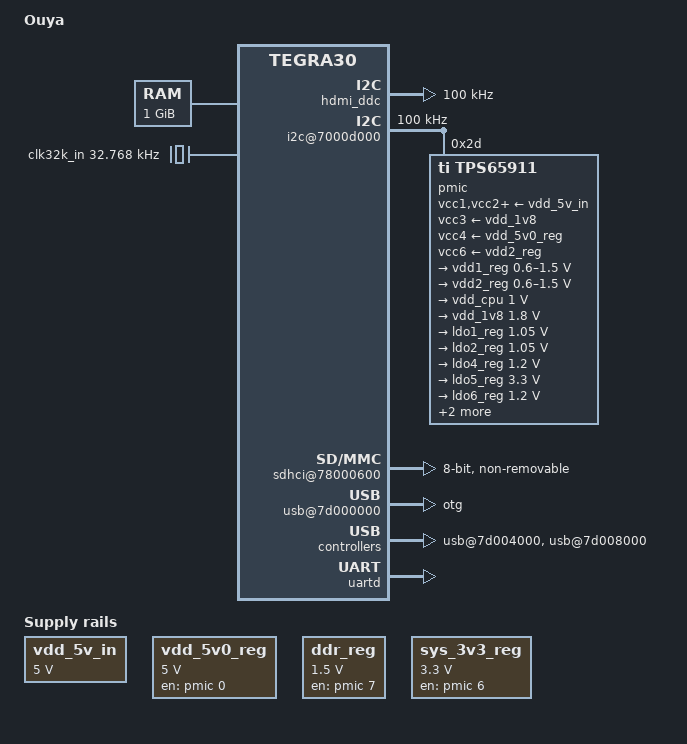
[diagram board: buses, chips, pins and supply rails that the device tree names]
/dts-v1/;

#include "tegra30.dtsi"

/ {
	model = "Ouya";
	compatible = "nvidia,ouya", "nvidia,tegra30";

	chosen {
		stdout-path = "&uartd:115200n8";
	};

	aliases {
		console = &uartd;
		i2c0 = "/i2c@7000d000";
		i2c1 = "/i2c@7000c700";
		mmc0 = "/sdhci@78000600";
		usb0 = "/usb@7d000000";
		usb1 = "/usb@7d004000";
		usb2 = "/usb@7d008000";
		serial0 = &uartd;
	};

	memory {
		device_type = "memory";
		reg = <0x80000000 0x40000000>;
	};

	hdmi_ddc:i2c@7000c700 {
		status = "okay";
		clock-frequency = <100000>;
	};

	i2c@7000d000 {
		status = "okay";
		clock-frequency = <100000>;

		pmic: tps65911@2d {
			compatible = "ti,tps65911";
			reg = <0x2d>;

			interrupts = <GIC_SPI 86 IRQ_TYPE_LEVEL_HIGH>;
			#interrupt-cells = <2>;
			interrupt-controller;

			ti,system-power-controller;

			#gpio-cells = <2>;
			gpio-controller;

			vcc1-supply = <&vdd_5v_in>;
			vcc2-supply = <&vdd_5v_in>;
			vcc3-supply = <&vdd_1v8>;
			vcc4-supply = <&vdd_5v0_reg>;
			vcc5-supply = <&vdd_5v_in>;
			vcc6-supply = <&vdd2_reg>;
			vcc7-supply = <&vdd_5v_in>;
			vccio-supply = <&vdd_5v_in>;

			regulators {
				vdd1_reg: vdd1 {
					regulator-name = "vddio_ddr_1v2";
					regulator-min-microvolt = <600000>;
					regulator-max-microvolt = <1500000>;
					regulator-always-on;
				};

				vdd2_reg: vdd2 {
					regulator-name = "vdd_1v5_gen";
					regulator-min-microvolt = <600000>;
					regulator-max-microvolt = <1500000>;
					regulator-always-on;
				};

				vdd_cpu: vddctrl {
					regulator-name = "vdd_cpu,vdd_sys";
					regulator-min-microvolt = <1000000>;
					regulator-max-microvolt = <1000000>;
					regulator-always-on;
				};

				vdd_1v8: vio {
					regulator-name = "vdd_1v8_gen";
					regulator-min-microvolt = <1800000>;
					regulator-max-microvolt = <1800000>;
					regulator-always-on;
				};

				ldo1_reg: ldo1 {
					regulator-name = "vdd_pexa,vdd_pexb";
					regulator-min-microvolt = <1050000>;
					regulator-max-microvolt = <1050000>;
				};

				ldo2_reg: ldo2 {
					regulator-name = "vdd_sata,avdd_plle";
					regulator-min-microvolt = <1050000>;
					regulator-max-microvolt = <1050000>;
				};

				/* LDO3 is not connected to anything */

				ldo4_reg: ldo4 {
					regulator-name = "vdd_rtc";
					regulator-min-microvolt = <1200000>;
					regulator-max-microvolt = <1200000>;
					regulator-always-on;
				};

				ldo5_reg: ldo5 {
					regulator-name = "vddio_sdmmc,avdd_vdac";
					regulator-min-microvolt = <3300000>;
					regulator-max-microvolt = <3300000>;
					regulator-always-on;
				};

				ldo6_reg: ldo6 {
					regulator-name = "avdd_dsi_csi,pwrdet_mipi";
					regulator-min-microvolt = <1200000>;
					regulator-max-microvolt = <1200000>;
				};

				ldo7_reg: ldo7 {
					regulator-name = "vdd_pllm,x,u,a_p_c_s";
					regulator-min-microvolt = <1200000>;
					regulator-max-microvolt = <1200000>;
					regulator-always-on;
				};

				ldo8_reg: ldo8 {
					regulator-name = "vdd_ddr_hs";
					regulator-min-microvolt = <1000000>;
					regulator-max-microvolt = <1000000>;
					regulator-always-on;
				};
			};
		};
	};

	sdhci@78000600 {
		status = "okay";
		bus-width = <8>;
		max-frequency = <25500000>;
		non-removable;
	};

	usb@7d000000 {
		nvidia,vbus-gpio = <&gpio TEGRA_GPIO(DD, 6) GPIO_ACTIVE_HIGH>;
		status = "okay";
		dr_mode = "otg";
	};

	usb-phy@7d000000 {
//		status = "okay";
	};

	usb@7d004000 {
		nvidia,vbus-gpio = <&gpio TEGRA_GPIO(DD, 5) GPIO_ACTIVE_HIGH>;
		status = "okay";
	};

	usb-phy@7d004000 {
	//	nvidia,hssync-start-delay = <0>;
	//	nvidia,xcvr-setup = <15>;
	//	nvidia,xcvr-hsslew = <8>;
	//	nvidia,hsdiscon-level = <1>;
//		status = "okay";
	};

	usb@7d008000 {
		nvidia,vbus-gpio = <&gpio TEGRA_GPIO(DD, 4) GPIO_ACTIVE_HIGH>;
		status = "okay";
	};

	usb-phy@7d008000 {
	//	nvidia,xcvr-setup = <8>;
	//	nvidia,xcvr-hsslew = <8>;
	//	nvidia,hsdiscon-level = <1>;
//		status = "okay";
	};

	clocks {
		compatible = "simple-bus";
		#address-cells = <1>;
		#size-cells = <0>;

		clk32k_in: clock@0 {
			compatible = "fixed-clock";
			reg=<0>;
			#clock-cells = <0>;
			clock-frequency = <32768>;
		};
	};

	regulators {
		compatible = "simple-bus";
		#address-cells = <1>;
		#size-cells = <0>;

		vdd_5v_in: regulator@0 {
			compatible = "regulator-fixed";
			reg = <0>;
			regulator-name = "vdd_ac_bat";
			regulator-min-microvolt = <5000000>;
			regulator-max-microvolt = <5000000>;
			regulator-always-on;
		};

		vdd_5v0_reg: regulator@2 {
			compatible = "regulator-fixed";
			reg = <2>;
			regulator-name = "cp_5v";
			regulator-min-microvolt = <5000000>;
			regulator-max-microvolt = <5000000>;
			regulator-boot-on;
			regulator-always-on;
			enable-active-high;
			gpio = <&pmic 0 GPIO_ACTIVE_HIGH>;
		};

		ddr_reg: regulator@100 {
			compatible = "regulator-fixed";
			regulator-name = "ddr";
			reg = <100>;
			regulator-min-microvolt = <1500000>;
			regulator-max-microvolt = <1500000>;
			regulator-always-on;
			regulator-boot-on;
			enable-active-high;
			gpio = <&pmic 7 GPIO_ACTIVE_HIGH>;
		};

		sys_3v3_reg: regulator@101 {
			compatible = "regulator-fixed";
			reg = <101>;
			regulator-name = "sys_3v3";
			regulator-min-microvolt = <3300000>;
			regulator-max-microvolt = <3300000>;
			regulator-always-on;
			regulator-boot-on;
			enable-active-high;
			gpio = <&pmic 6 GPIO_ACTIVE_HIGH>;
		};
	};
};

&uartd {
	status = "okay";
};
